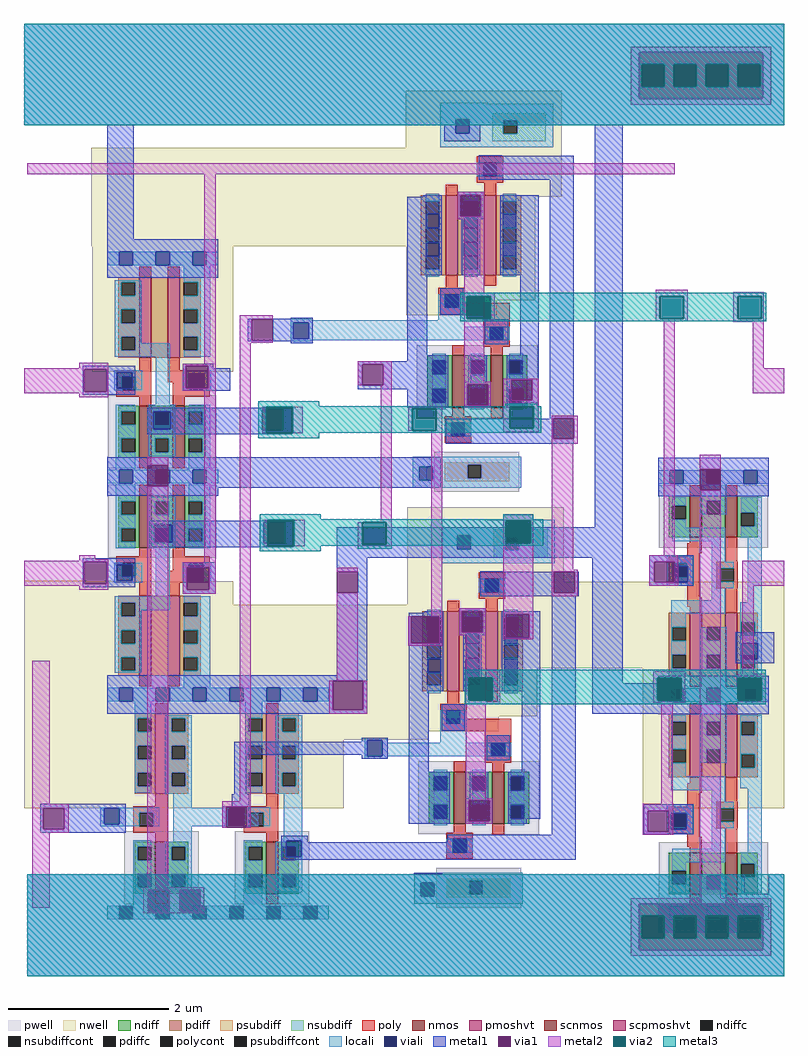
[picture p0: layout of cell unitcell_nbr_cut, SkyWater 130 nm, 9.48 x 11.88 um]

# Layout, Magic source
magic
tech sky130A
magscale 1 2
<< nwell >>
rect -406 636 388 882
rect -574 -766 -356 -198
rect -62 -278 382 -258
rect -62 -444 416 -278
rect 690 -416 1048 -200
rect -62 -452 434 -444
rect 202 -594 434 -452
<< locali >>
rect 92 452 142 456
rect 460 452 526 484
rect 92 446 526 452
rect 92 406 98 446
rect 136 436 526 446
rect 136 406 580 436
rect 92 402 580 406
rect 92 400 142 402
rect 276 -596 334 -590
rect 276 -636 282 -596
rect 320 -602 334 -596
rect 464 -602 530 -522
rect 320 -636 588 -602
rect 276 -642 334 -636
rect -384 -766 -288 -764
rect -384 -806 -374 -766
rect -336 -806 -288 -766
rect -384 -810 -288 -806
rect -176 -768 10 -764
rect -176 -808 -64 -768
rect -26 -808 10 -768
rect -176 -810 10 -808
<< viali >>
rect 98 406 136 446
rect -342 282 -304 322
rect -164 282 -124 318
rect -252 180 -208 224
rect -248 -102 -204 -58
rect -342 -198 -304 -158
rect -164 -198 -126 -158
rect 1044 -202 1082 -162
rect 1218 -394 1256 -354
rect 282 -636 320 -596
rect -374 -806 -336 -766
rect -64 -808 -26 -768
rect 1040 -818 1078 -778
rect 80 -886 118 -846
<< metal1 >>
rect -574 1120 1322 1192
rect -574 1004 961 1120
rect 1269 1004 1322 1120
rect -574 938 1322 1004
rect -366 634 -300 938
rect 92 456 146 458
rect -16 454 146 456
rect -16 402 -6 454
rect 46 446 146 454
rect 46 406 98 446
rect 136 406 146 446
rect 46 402 146 406
rect -16 400 146 402
rect 92 394 146 400
rect -178 338 -102 344
rect -428 330 -296 338
rect -428 274 -424 330
rect -368 322 -296 330
rect -368 282 -342 322
rect -304 282 -296 322
rect -368 274 -296 282
rect -178 282 -170 338
rect -114 332 -102 338
rect 258 342 406 350
rect -114 282 -60 332
rect -178 276 -60 282
rect 258 290 270 342
rect 322 290 406 342
rect 258 280 406 290
rect -428 266 -296 274
rect -266 230 94 234
rect -266 224 20 230
rect -266 180 -252 224
rect -208 180 20 224
rect -266 178 20 180
rect 72 178 94 230
rect -266 168 94 178
rect -118 34 432 110
rect -262 -52 98 -48
rect -262 -58 24 -52
rect -262 -102 -248 -58
rect -204 -102 24 -58
rect -262 -104 24 -102
rect 76 -104 98 -52
rect 850 -64 920 938
rect -262 -114 98 -104
rect 206 -140 920 -64
rect -428 -150 -296 -142
rect -428 -206 -424 -150
rect -368 -158 -296 -150
rect -368 -198 -342 -158
rect -304 -198 -296 -158
rect -368 -206 -296 -198
rect -428 -214 -296 -206
rect -178 -158 -96 -152
rect -178 -164 -164 -158
rect -126 -164 -96 -158
rect -178 -220 -168 -164
rect -112 -220 -96 -164
rect -178 -230 -96 -220
rect 206 -176 282 -140
rect 258 -228 282 -176
rect 800 -228 810 -176
rect 206 -434 282 -228
rect 792 -236 810 -228
rect 186 -448 282 -434
rect 186 -520 196 -448
rect 272 -520 282 -448
rect 186 -530 282 -520
rect 844 -454 920 -140
rect 986 -150 1096 -134
rect 986 -202 998 -150
rect 1050 -162 1096 -150
rect 1082 -202 1096 -162
rect 986 -210 1096 -202
rect 1202 -354 1298 -326
rect 1202 -394 1218 -354
rect 1256 -394 1298 -354
rect 1202 -404 1298 -394
rect 844 -530 1052 -454
rect 268 -596 334 -590
rect 268 -600 282 -596
rect -50 -632 282 -600
rect -50 -730 -18 -632
rect 268 -636 282 -632
rect 320 -636 334 -596
rect 268 -642 334 -636
rect -534 -766 -320 -754
rect -56 -760 -12 -730
rect -534 -818 -526 -766
rect -474 -806 -374 -766
rect -336 -806 -320 -766
rect -474 -818 -320 -806
rect -80 -762 -12 -760
rect -80 -814 -70 -762
rect -18 -814 -12 -762
rect 972 -772 1096 -756
rect -534 -826 -320 -818
rect 972 -824 982 -772
rect 1034 -778 1096 -772
rect 1034 -818 1040 -778
rect 1078 -818 1096 -778
rect 1034 -824 1096 -818
rect 972 -830 1096 -824
rect 68 -846 134 -834
rect 68 -886 80 -846
rect 118 -850 134 -846
rect 118 -886 500 -850
rect 68 -894 500 -886
rect -566 -970 1224 -930
rect -566 -1022 -264 -970
rect -212 -1022 -186 -970
rect -134 -1004 1224 -970
rect 1284 -1004 1322 -930
rect -134 -1022 961 -1004
rect -566 -1120 961 -1022
rect 1269 -1120 1322 -1004
rect -566 -1184 1322 -1120
<< via1 >>
rect 961 1004 1269 1120
rect -6 402 46 454
rect -424 274 -368 330
rect -170 318 -114 338
rect -170 282 -164 318
rect -164 282 -124 318
rect -124 282 -114 318
rect 270 290 322 342
rect 642 252 694 304
rect 20 178 72 230
rect 746 156 798 208
rect -266 38 -214 90
rect 24 -104 76 -52
rect 1112 28 1164 80
rect -424 -206 -368 -150
rect -168 -198 -164 -164
rect -164 -198 -126 -164
rect -126 -198 -112 -164
rect -168 -220 -112 -198
rect 206 -228 258 -176
rect 748 -228 800 -176
rect 392 -354 462 -286
rect 628 -340 686 -282
rect 196 -520 272 -448
rect 998 -162 1050 -150
rect 998 -202 1044 -162
rect 1044 -202 1050 -162
rect -526 -818 -474 -766
rect -70 -768 -18 -762
rect -70 -808 -64 -768
rect -64 -808 -26 -768
rect -26 -808 -18 -768
rect -70 -814 -18 -808
rect 982 -824 1034 -772
rect -264 -1022 -212 -970
rect -186 -1022 -134 -970
rect 961 -1120 1269 -1004
<< metal2 >>
rect 940 1120 1290 1134
rect 940 1004 961 1120
rect 1269 1004 1290 1120
rect 940 990 1290 1004
rect -566 816 1050 844
rect -436 332 -364 346
rect -124 344 -96 816
rect 528 512 600 520
rect -574 330 -364 332
rect -574 274 -424 330
rect -368 274 -364 330
rect -178 338 -96 344
rect -178 282 -170 338
rect -114 282 -96 338
rect -178 276 -96 282
rect -574 270 -364 274
rect -436 260 -364 270
rect -266 90 -214 110
rect -436 -144 -396 -134
rect -436 -148 -364 -144
rect -574 -150 -364 -148
rect -574 -206 -424 -150
rect -368 -206 -364 -150
rect -574 -210 -364 -206
rect -436 -220 -364 -210
rect -554 -754 -510 -398
rect -554 -766 -462 -754
rect -554 -818 -526 -766
rect -474 -818 -462 -766
rect -554 -826 -462 -818
rect -554 -1014 -510 -826
rect -266 -962 -214 38
rect -124 -152 -96 276
rect -178 -164 -96 -152
rect -178 -220 -168 -164
rect -112 -220 -96 -164
rect -178 -230 -96 -220
rect -36 454 46 464
rect -36 402 -6 454
rect 528 456 530 512
rect 590 456 600 512
rect 528 450 600 456
rect 1002 512 1082 528
rect 1002 456 1012 512
rect 1072 456 1082 512
rect 1002 450 1082 456
rect 1196 512 1272 522
rect 1196 456 1206 512
rect 1266 456 1272 512
rect -36 396 46 402
rect -36 -748 -8 396
rect 258 342 344 350
rect 258 290 270 342
rect 322 290 344 342
rect 20 230 30 236
rect 20 170 30 178
rect 96 170 122 236
rect 24 -52 34 -46
rect 24 -112 34 -104
rect 100 -112 126 -46
rect 316 -52 344 290
rect 622 304 710 306
rect 622 252 642 304
rect 694 252 710 304
rect 622 238 710 252
rect 384 232 470 236
rect 384 176 394 232
rect 454 176 470 232
rect 258 -108 270 -52
rect 330 -108 344 -52
rect 258 -112 344 -108
rect 206 -176 258 -166
rect 206 -448 258 -228
rect 442 -286 470 176
rect 622 182 638 238
rect 698 182 710 238
rect 622 172 710 182
rect 742 208 808 214
rect 742 156 746 208
rect 798 156 808 208
rect 742 144 808 156
rect 384 -354 392 -286
rect 462 -354 470 -286
rect 622 -48 696 -33
rect 622 -104 628 -48
rect 690 -104 696 -48
rect 622 -282 696 -104
rect 742 -170 796 144
rect 1022 -134 1050 450
rect 1196 448 1272 456
rect 1244 332 1272 448
rect 1244 270 1322 332
rect 1112 80 1164 116
rect 986 -150 1058 -134
rect 742 -176 808 -170
rect 742 -228 748 -176
rect 800 -228 808 -176
rect 986 -202 998 -150
rect 1050 -202 1058 -150
rect 986 -210 1058 -202
rect 742 -236 808 -228
rect 622 -340 628 -282
rect 686 -340 696 -282
rect 622 -344 696 -340
rect 384 -360 470 -354
rect 578 -440 614 -420
rect 188 -520 196 -448
rect 272 -520 282 -448
rect 596 -496 614 -440
rect 578 -506 614 -496
rect 996 -440 1076 -424
rect 996 -496 1006 -440
rect 1066 -496 1076 -440
rect 996 -502 1076 -496
rect 188 -530 282 -520
rect -80 -762 -8 -748
rect 1016 -754 1044 -502
rect -80 -814 -70 -762
rect -18 -814 -8 -762
rect 970 -772 1046 -754
rect 970 -824 982 -772
rect 1034 -824 1046 -772
rect 970 -832 1046 -824
rect -276 -970 -124 -962
rect -276 -1022 -264 -970
rect -212 -1022 -186 -970
rect -134 -1022 -124 -970
rect 1112 -990 1164 28
rect 1218 -210 1322 -148
rect 1218 -430 1246 -210
rect 1206 -440 1276 -430
rect 1266 -496 1276 -440
rect 1206 -506 1276 -496
rect -276 -1028 -124 -1022
rect 940 -1004 1290 -990
rect 940 -1120 961 -1004
rect 1269 -1120 1290 -1004
rect 940 -1134 1290 -1120
<< via2 >>
rect 967 1034 1023 1090
rect 1047 1034 1103 1090
rect 1127 1034 1183 1090
rect 1207 1034 1263 1090
rect 530 456 590 512
rect 1012 456 1072 512
rect 1206 456 1266 512
rect 30 230 96 236
rect 30 178 72 230
rect 72 178 96 230
rect 30 170 96 178
rect 34 -52 100 -46
rect 34 -104 76 -52
rect 76 -104 100 -52
rect 34 -112 100 -104
rect 394 176 454 232
rect 270 -108 330 -52
rect 638 182 698 238
rect 628 -104 690 -48
rect 536 -496 596 -440
rect 1006 -496 1066 -440
rect 1206 -496 1266 -440
rect 967 -1090 1023 -1034
rect 1047 -1090 1103 -1034
rect 1127 -1090 1183 -1034
rect 1207 -1090 1263 -1034
<< metal3 >>
rect -574 1090 1322 1192
rect -574 1034 967 1090
rect 1023 1034 1047 1090
rect 1103 1034 1127 1090
rect 1183 1034 1207 1090
rect 1263 1034 1322 1090
rect -574 938 1322 1034
rect 514 512 1278 520
rect 514 456 530 512
rect 590 456 1012 512
rect 1072 456 1206 512
rect 1266 456 1278 512
rect 514 450 1278 456
rect 10 237 162 250
rect 626 238 706 244
rect 626 237 638 238
rect 10 236 638 237
rect 10 170 30 236
rect 96 232 638 236
rect 96 176 394 232
rect 454 182 638 232
rect 698 237 706 238
rect 698 182 717 237
rect 454 176 717 182
rect 96 171 717 176
rect 96 170 162 171
rect 10 158 162 170
rect 14 -45 166 -32
rect 622 -45 696 -32
rect 14 -46 721 -45
rect 14 -112 34 -46
rect 100 -48 721 -46
rect 100 -52 628 -48
rect 100 -108 270 -52
rect 330 -104 628 -52
rect 690 -104 721 -48
rect 330 -108 721 -104
rect 100 -111 721 -108
rect 100 -112 166 -111
rect 14 -124 166 -112
rect 258 -118 344 -111
rect 526 -440 1276 -420
rect 526 -496 536 -440
rect 596 -496 1006 -440
rect 1066 -496 1206 -440
rect 1266 -496 1276 -440
rect 526 -506 1276 -496
rect -566 -1034 1322 -930
rect -566 -1090 967 -1034
rect 1023 -1090 1047 -1034
rect 1103 -1090 1127 -1034
rect 1183 -1090 1207 -1034
rect 1263 -1090 1322 -1034
rect -566 -1185 1322 -1090
use mux  mux_0
transform 1 0 432 0 1 146
box -54 -122 366 878
use mux  mux_1
transform 1 0 436 0 1 -892
box -54 -122 366 878
use sky130_fd_sc_hd__buf_1  sky130_fd_sc_hd__buf_1_0
transform 1 0 1008 0 1 -1027
box -38 -48 314 592
use sky130_fd_sc_hd__buf_1  sky130_fd_sc_hd__buf_1_1
transform 1 0 1008 0 -1 61
box -38 -48 314 592
use sky130_fd_sc_hd__inv_1#0  sky130_fd_sc_hd__inv_1_0
transform 1 0 -90 0 1 -1026
box -38 -48 314 592
use sky130_fd_sc_hd__inv_1#0  sky130_fd_sc_hd__inv_1_1
transform 1 0 -366 0 1 -1026
box -38 -48 314 592
use sky130_fd_sc_hd__nor2_1  sky130_fd_sc_hd__nor2_1_0
transform 1 0 -366 0 1 62
box -38 -48 314 592
use sky130_fd_sc_hd__nor2_1  sky130_fd_sc_hd__nor2_1_1
transform 1 0 -366 0 -1 62
box -38 -48 314 592
<< end >>

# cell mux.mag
magic
tech sky130A
magscale 1 2
<< nwell >>
rect -54 614 336 878
<< pwell >>
rect 18 -122 230 -22
<< psubdiff >>
rect 44 -54 204 -48
rect 44 -88 101 -54
rect 135 -88 204 -54
rect 44 -96 204 -88
<< nsubdiff >>
rect 162 805 296 822
rect 162 771 190 805
rect 224 771 296 805
rect 162 752 296 771
<< psubdiffcont >>
rect 101 -88 135 -54
<< nsubdiffcont >>
rect 190 771 224 805
<< poly >>
rect 28 318 206 350
rect 140 240 206 318
<< locali >>
rect 32 846 146 848
rect 32 807 314 846
rect 32 773 71 807
rect 105 805 314 807
rect 105 773 190 805
rect 32 771 190 773
rect 224 771 314 805
rect 32 738 314 771
rect -36 -54 234 -34
rect -36 -59 101 -54
rect -36 -93 -20 -59
rect 14 -88 101 -59
rect 135 -88 234 -54
rect 14 -93 234 -88
rect -36 -112 234 -93
<< viali >>
rect 71 773 105 807
rect -20 -93 14 -59
<< metal1 >>
rect 42 807 132 828
rect 42 773 71 807
rect 105 773 132 807
rect 42 752 132 773
rect 128 716 186 718
rect 128 656 366 716
rect 76 618 142 626
rect -50 218 0 614
rect 76 566 82 618
rect 134 566 142 618
rect 76 558 142 566
rect 188 418 278 618
rect 32 320 90 386
rect 144 246 202 308
rect -50 88 52 218
rect 92 146 158 152
rect 92 94 100 146
rect 152 94 158 146
rect 232 100 278 418
rect 92 88 158 94
rect 306 60 366 656
rect 46 -2 366 60
rect -38 -59 34 -36
rect -38 -93 -20 -59
rect 14 -93 34 -59
rect -38 -112 34 -93
<< via1 >>
rect 82 566 134 618
rect 100 94 152 146
<< metal2 >>
rect 76 618 142 626
rect 76 566 82 618
rect 134 566 142 618
rect 76 558 142 566
rect 92 152 142 558
rect 92 146 158 152
rect 92 94 100 146
rect 152 94 158 146
rect 92 88 158 94
use sky130_fd_pr__nfet_01v8_PX9ZJG  1
transform 1 0 125 0 1 153
box -151 -153 151 153
use sky130_fd_pr__pfet_01v8_hvt_SH6FHF  2
transform 1 0 109 0 1 518
box -161 -200 161 200
<< end >>

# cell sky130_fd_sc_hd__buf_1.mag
magic
tech sky130A
magscale 1 2
<< nwell >>
rect -38 261 314 582
<< pwell >>
rect 1 21 275 177
<< scnmos >>
rect 79 47 109 151
rect 167 47 197 151
<< scpmoshvt >>
rect 79 339 109 497
rect 167 339 197 497
<< ndiff >>
rect 27 106 79 151
rect 27 72 35 106
rect 69 72 79 106
rect 27 47 79 72
rect 109 93 167 151
rect 109 59 121 93
rect 155 59 167 93
rect 109 47 167 59
rect 197 123 249 151
rect 197 89 207 123
rect 241 89 249 123
rect 197 47 249 89
<< pdiff >>
rect 27 477 79 497
rect 27 443 35 477
rect 69 443 79 477
rect 27 409 79 443
rect 27 375 35 409
rect 69 375 79 409
rect 27 339 79 375
rect 109 477 167 497
rect 109 443 121 477
rect 155 443 167 477
rect 109 409 167 443
rect 109 375 121 409
rect 155 375 167 409
rect 109 339 167 375
rect 197 477 249 497
rect 197 443 207 477
rect 241 443 249 477
rect 197 396 249 443
rect 197 362 207 396
rect 241 362 249 396
rect 197 339 249 362
<< ndiffc >>
rect 35 72 69 106
rect 121 59 155 93
rect 207 89 241 123
<< pdiffc >>
rect 35 443 69 477
rect 35 375 69 409
rect 121 443 155 477
rect 121 375 155 409
rect 207 443 241 477
rect 207 362 241 396
<< poly >>
rect 79 497 109 523
rect 167 497 197 523
rect 79 324 109 339
rect 73 300 109 324
rect 73 265 103 300
rect 167 278 197 339
rect 27 249 103 265
rect 27 215 37 249
rect 71 215 103 249
rect 27 199 103 215
rect 145 262 199 278
rect 145 228 155 262
rect 189 228 199 262
rect 145 212 199 228
rect 73 190 103 199
rect 73 166 109 190
rect 79 151 109 166
rect 167 151 197 212
rect 79 21 109 47
rect 167 21 197 47
<< polycont >>
rect 37 215 71 249
rect 155 228 189 262
<< locali >>
rect 0 527 29 561
rect 63 527 121 561
rect 155 527 213 561
rect 247 527 276 561
rect 33 477 69 493
rect 33 443 35 477
rect 33 409 69 443
rect 33 375 35 409
rect 105 477 171 527
rect 105 443 121 477
rect 155 443 171 477
rect 105 409 171 443
rect 105 375 121 409
rect 155 375 171 409
rect 205 477 259 493
rect 205 443 207 477
rect 241 443 259 477
rect 205 396 259 443
rect 33 341 69 375
rect 205 362 207 396
rect 241 362 259 396
rect 33 307 168 341
rect 205 312 259 362
rect 134 278 168 307
rect 21 249 89 271
rect 21 215 37 249
rect 71 215 89 249
rect 21 197 89 215
rect 134 262 189 278
rect 134 228 155 262
rect 134 212 189 228
rect 134 161 168 212
rect 35 127 168 161
rect 223 152 259 312
rect 35 106 69 127
rect 207 123 259 152
rect 35 51 69 72
rect 105 59 121 93
rect 155 59 171 93
rect 105 17 171 59
rect 241 89 259 123
rect 207 51 259 89
rect 0 -17 29 17
rect 63 -17 121 17
rect 155 -17 213 17
rect 247 -17 276 17
<< viali >>
rect 29 527 63 561
rect 121 527 155 561
rect 213 527 247 561
rect 29 -17 63 17
rect 121 -17 155 17
rect 213 -17 247 17
<< metal1 >>
rect 0 561 276 592
rect 0 527 29 561
rect 63 527 121 561
rect 155 527 213 561
rect 247 527 276 561
rect 0 496 276 527
rect 0 17 276 48
rect 0 -17 29 17
rect 63 -17 121 17
rect 155 -17 213 17
rect 247 -17 276 17
rect 0 -48 276 -17
<< properties >>
string FIXED_BBOX 0 0 276 544
<< end >>

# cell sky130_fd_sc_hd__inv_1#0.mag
magic
tech sky130A
magscale 1 2
<< nwell >>
rect -38 261 314 582
<< pwell >>
rect 42 21 228 203
<< scnmos >>
rect 120 47 150 177
<< scpmoshvt >>
rect 120 297 150 497
<< ndiff >>
rect 68 165 120 177
rect 68 131 76 165
rect 110 131 120 165
rect 68 97 120 131
rect 68 63 76 97
rect 110 63 120 97
rect 68 47 120 63
rect 150 165 202 177
rect 150 131 160 165
rect 194 131 202 165
rect 150 97 202 131
rect 150 63 160 97
rect 194 63 202 97
rect 150 47 202 63
<< pdiff >>
rect 68 485 120 497
rect 68 451 76 485
rect 110 451 120 485
rect 68 417 120 451
rect 68 383 76 417
rect 110 383 120 417
rect 68 349 120 383
rect 68 315 76 349
rect 110 315 120 349
rect 68 297 120 315
rect 150 485 202 497
rect 150 451 160 485
rect 194 451 202 485
rect 150 417 202 451
rect 150 383 160 417
rect 194 383 202 417
rect 150 349 202 383
rect 150 315 160 349
rect 194 315 202 349
rect 150 297 202 315
<< ndiffc >>
rect 76 131 110 165
rect 76 63 110 97
rect 160 131 194 165
rect 160 63 194 97
<< pdiffc >>
rect 76 451 110 485
rect 76 383 110 417
rect 76 315 110 349
rect 160 451 194 485
rect 160 383 194 417
rect 160 315 194 349
<< poly >>
rect 120 497 150 523
rect 120 265 150 297
rect 64 249 150 265
rect 64 215 80 249
rect 114 215 150 249
rect 64 199 150 215
rect 120 177 150 199
rect 120 21 150 47
<< polycont >>
rect 80 215 114 249
<< locali >>
rect 0 527 29 561
rect 63 527 121 561
rect 155 527 213 561
rect 247 527 276 561
rect 68 485 110 527
rect 68 451 76 485
rect 68 417 110 451
rect 68 383 76 417
rect 68 349 110 383
rect 68 315 76 349
rect 68 299 110 315
rect 144 485 210 493
rect 144 451 160 485
rect 194 451 210 485
rect 144 417 210 451
rect 144 383 160 417
rect 194 383 210 417
rect 144 349 210 383
rect 144 315 160 349
rect 194 315 210 349
rect 144 297 210 315
rect 64 249 130 263
rect 64 215 80 249
rect 114 215 130 249
rect 64 165 110 181
rect 164 177 210 297
rect 64 131 76 165
rect 64 97 110 131
rect 64 63 76 97
rect 64 17 110 63
rect 144 165 210 177
rect 144 131 160 165
rect 194 131 210 165
rect 144 97 210 131
rect 144 63 160 97
rect 194 63 210 97
rect 144 51 210 63
rect 0 -17 29 17
rect 63 -17 121 17
rect 155 -17 213 17
rect 247 -17 276 17
<< viali >>
rect 29 527 63 561
rect 121 527 155 561
rect 213 527 247 561
rect 29 -17 63 17
rect 121 -17 155 17
rect 213 -17 247 17
<< metal1 >>
rect 0 561 276 592
rect 0 527 29 561
rect 63 527 121 561
rect 155 527 213 561
rect 247 527 276 561
rect 0 496 276 527
rect 0 17 276 48
rect 0 -17 29 17
rect 63 -17 121 17
rect 155 -17 213 17
rect 247 -17 276 17
rect 0 -48 276 -17
<< properties >>
string FIXED_BBOX 0 0 276 544
<< end >>

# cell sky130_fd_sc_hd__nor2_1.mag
magic
tech sky130A
magscale 1 2
<< nwell >>
rect -38 261 314 582
<< pwell >>
rect 1 21 271 203
<< scnmos >>
rect 79 47 109 177
rect 163 47 193 177
<< scpmoshvt >>
rect 79 297 109 497
rect 151 297 181 497
<< ndiff >>
rect 27 163 79 177
rect 27 129 35 163
rect 69 129 79 163
rect 27 95 79 129
rect 27 61 35 95
rect 69 61 79 95
rect 27 47 79 61
rect 109 163 163 177
rect 109 129 119 163
rect 153 129 163 163
rect 109 95 163 129
rect 109 61 119 95
rect 153 61 163 95
rect 109 47 163 61
rect 193 163 245 177
rect 193 129 203 163
rect 237 129 245 163
rect 193 95 245 129
rect 193 61 203 95
rect 237 61 245 95
rect 193 47 245 61
<< pdiff >>
rect 27 485 79 497
rect 27 451 35 485
rect 69 451 79 485
rect 27 417 79 451
rect 27 383 35 417
rect 69 383 79 417
rect 27 349 79 383
rect 27 315 35 349
rect 69 315 79 349
rect 27 297 79 315
rect 109 297 151 497
rect 181 485 233 497
rect 181 451 191 485
rect 225 451 233 485
rect 181 417 233 451
rect 181 383 191 417
rect 225 383 233 417
rect 181 349 233 383
rect 181 315 191 349
rect 225 315 233 349
rect 181 297 233 315
<< ndiffc >>
rect 35 129 69 163
rect 35 61 69 95
rect 119 129 153 163
rect 119 61 153 95
rect 203 129 237 163
rect 203 61 237 95
<< pdiffc >>
rect 35 451 69 485
rect 35 383 69 417
rect 35 315 69 349
rect 191 451 225 485
rect 191 383 225 417
rect 191 315 225 349
<< poly >>
rect 79 497 109 523
rect 151 497 181 523
rect 79 265 109 297
rect 22 249 109 265
rect 22 215 37 249
rect 71 215 109 249
rect 151 265 181 297
rect 151 249 255 265
rect 151 235 205 249
rect 22 199 109 215
rect 79 177 109 199
rect 163 215 205 235
rect 239 215 255 249
rect 163 199 255 215
rect 163 177 193 199
rect 79 21 109 47
rect 163 21 193 47
<< polycont >>
rect 37 215 71 249
rect 205 215 239 249
<< locali >>
rect 0 527 29 561
rect 63 527 121 561
rect 155 527 213 561
rect 247 527 276 561
rect 19 485 85 490
rect 19 451 35 485
rect 69 451 85 485
rect 19 417 85 451
rect 19 383 35 417
rect 69 383 85 417
rect 19 349 85 383
rect 19 315 35 349
rect 69 333 85 349
rect 191 485 257 527
rect 225 451 257 485
rect 191 417 257 451
rect 225 383 257 417
rect 191 349 257 383
rect 69 315 155 333
rect 19 299 155 315
rect 225 315 257 349
rect 191 299 257 315
rect 17 249 87 265
rect 17 215 37 249
rect 71 215 87 249
rect 121 179 155 299
rect 189 249 259 265
rect 189 215 205 249
rect 239 215 259 249
rect 21 163 69 179
rect 21 129 35 163
rect 21 95 69 129
rect 21 61 35 95
rect 21 17 69 61
rect 103 163 169 179
rect 103 129 119 163
rect 153 129 169 163
rect 103 95 169 129
rect 103 61 119 95
rect 153 61 169 95
rect 103 51 169 61
rect 203 163 257 179
rect 237 129 257 163
rect 203 95 257 129
rect 237 61 257 95
rect 203 17 257 61
rect 0 -17 29 17
rect 63 -17 121 17
rect 155 -17 213 17
rect 247 -17 276 17
<< viali >>
rect 29 527 63 561
rect 121 527 155 561
rect 213 527 247 561
rect 29 -17 63 17
rect 121 -17 155 17
rect 213 -17 247 17
<< metal1 >>
rect 0 561 276 592
rect 0 527 29 561
rect 63 527 121 561
rect 155 527 213 561
rect 247 527 276 561
rect 0 496 276 527
rect 0 17 276 48
rect 0 -17 29 17
rect 63 -17 121 17
rect 155 -17 213 17
rect 247 -17 276 17
rect 0 -48 276 -17
<< properties >>
string FIXED_BBOX 0 0 276 544
<< end >>

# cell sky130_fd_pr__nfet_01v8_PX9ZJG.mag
magic
tech sky130A
magscale 1 2
<< pwell >>
rect -151 -91 151 91
<< nmos >>
rect -63 -65 -33 65
rect 33 -65 63 65
<< ndiff >>
rect -125 51 -63 65
rect -125 17 -113 51
rect -79 17 -63 51
rect -125 -17 -63 17
rect -125 -51 -113 -17
rect -79 -51 -63 -17
rect -125 -65 -63 -51
rect -33 51 33 65
rect -33 17 -17 51
rect 17 17 33 51
rect -33 -17 33 17
rect -33 -51 -17 -17
rect 17 -51 33 -17
rect -33 -65 33 -51
rect 63 51 125 65
rect 63 17 79 51
rect 113 17 125 51
rect 63 -17 125 17
rect 63 -51 79 -17
rect 113 -51 125 -17
rect 63 -65 125 -51
<< ndiffc >>
rect -113 17 -79 51
rect -113 -51 -79 -17
rect -17 17 17 51
rect -17 -51 17 -17
rect 79 17 113 51
rect 79 -51 113 -17
<< poly >>
rect 15 137 81 153
rect 15 103 31 137
rect 65 103 81 137
rect -63 65 -33 91
rect 15 87 81 103
rect 33 65 63 87
rect -63 -87 -33 -65
rect -81 -103 -15 -87
rect 33 -91 63 -65
rect -81 -137 -65 -103
rect -31 -137 -15 -103
rect -81 -153 -15 -137
<< polycont >>
rect 31 103 65 137
rect -65 -137 -31 -103
<< locali >>
rect 15 103 31 137
rect 65 103 81 137
rect -113 53 -79 69
rect -113 -17 -79 17
rect -113 -69 -79 -53
rect -17 53 17 69
rect -17 -17 17 17
rect -17 -69 17 -53
rect 79 53 113 69
rect 79 -17 113 17
rect 79 -69 113 -53
rect -81 -137 -65 -103
rect -31 -137 -15 -103
<< viali >>
rect 31 103 65 137
rect -113 51 -79 53
rect -113 19 -79 51
rect -113 -51 -79 -19
rect -113 -53 -79 -51
rect -17 51 17 53
rect -17 19 17 51
rect -17 -51 17 -19
rect -17 -53 17 -51
rect 79 51 113 53
rect 79 19 113 51
rect 79 -51 113 -19
rect 79 -53 113 -51
rect -65 -137 -31 -103
<< metal1 >>
rect 19 137 77 143
rect 19 103 31 137
rect 65 103 77 137
rect 19 97 77 103
rect -119 53 -73 65
rect -119 19 -113 53
rect -79 19 -73 53
rect -119 -19 -73 19
rect -119 -53 -113 -19
rect -79 -53 -73 -19
rect -119 -65 -73 -53
rect -23 53 23 65
rect -23 19 -17 53
rect 17 19 23 53
rect -23 -19 23 19
rect -23 -53 -17 -19
rect 17 -53 23 -19
rect -23 -65 23 -53
rect 73 53 119 65
rect 73 19 79 53
rect 113 19 119 53
rect 73 -19 119 19
rect 73 -53 79 -19
rect 113 -53 119 -19
rect 73 -65 119 -53
rect -77 -103 -19 -97
rect -77 -137 -65 -103
rect -31 -137 -19 -103
rect -77 -143 -19 -137
<< end >>

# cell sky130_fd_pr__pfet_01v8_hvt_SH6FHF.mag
magic
tech sky130A
magscale 1 2
<< nwell >>
rect -65 162 161 200
rect -161 -162 161 162
rect -161 -200 65 -162
<< pmoshvt >>
rect -63 -100 -33 100
rect 33 -100 63 100
<< pdiff >>
rect -125 85 -63 100
rect -125 51 -113 85
rect -79 51 -63 85
rect -125 17 -63 51
rect -125 -17 -113 17
rect -79 -17 -63 17
rect -125 -51 -63 -17
rect -125 -85 -113 -51
rect -79 -85 -63 -51
rect -125 -100 -63 -85
rect -33 85 33 100
rect -33 51 -17 85
rect 17 51 33 85
rect -33 17 33 51
rect -33 -17 -17 17
rect 17 -17 33 17
rect -33 -51 33 -17
rect -33 -85 -17 -51
rect 17 -85 33 -51
rect -33 -100 33 -85
rect 63 85 125 100
rect 63 51 79 85
rect 113 51 125 85
rect 63 17 125 51
rect 63 -17 79 17
rect 113 -17 125 17
rect 63 -51 125 -17
rect 63 -85 79 -51
rect 113 -85 125 -51
rect 63 -100 125 -85
<< pdiffc >>
rect -113 51 -79 85
rect -113 -17 -79 17
rect -113 -85 -79 -51
rect -17 51 17 85
rect -17 -17 17 17
rect -17 -85 17 -51
rect 79 51 113 85
rect 79 -17 113 17
rect 79 -85 113 -51
<< poly >>
rect 15 181 81 197
rect 15 147 31 181
rect 65 147 81 181
rect 15 131 81 147
rect -63 100 -33 126
rect 33 100 63 131
rect -63 -131 -33 -100
rect 33 -126 63 -100
rect -81 -147 -15 -131
rect -81 -181 -65 -147
rect -31 -181 -15 -147
rect -81 -197 -15 -181
<< polycont >>
rect 31 147 65 181
rect -65 -181 -31 -147
<< locali >>
rect 15 147 31 181
rect 65 147 81 181
rect -113 85 -79 104
rect -113 17 -79 19
rect -113 -19 -79 -17
rect -113 -104 -79 -85
rect -17 85 17 104
rect -17 17 17 19
rect -17 -19 17 -17
rect -17 -104 17 -85
rect 79 85 113 104
rect 79 17 113 19
rect 79 -19 113 -17
rect 79 -104 113 -85
rect -81 -181 -65 -147
rect -31 -181 -15 -147
<< viali >>
rect 31 147 65 181
rect -113 51 -79 53
rect -113 19 -79 51
rect -113 -51 -79 -19
rect -113 -53 -79 -51
rect -17 51 17 53
rect -17 19 17 51
rect -17 -51 17 -19
rect -17 -53 17 -51
rect 79 51 113 53
rect 79 19 113 51
rect 79 -51 113 -19
rect 79 -53 113 -51
rect -65 -181 -31 -147
<< metal1 >>
rect 19 181 77 187
rect 19 147 31 181
rect 65 147 77 181
rect 19 141 77 147
rect -119 53 -73 100
rect -119 19 -113 53
rect -79 19 -73 53
rect -119 -19 -73 19
rect -119 -53 -113 -19
rect -79 -53 -73 -19
rect -119 -100 -73 -53
rect -23 53 23 100
rect -23 19 -17 53
rect 17 19 23 53
rect -23 -19 23 19
rect -23 -53 -17 -19
rect 17 -53 23 -19
rect -23 -100 23 -53
rect 73 53 119 100
rect 73 19 79 53
rect 113 19 119 53
rect 73 -19 119 19
rect 73 -53 79 -19
rect 113 -53 119 -19
rect 73 -100 119 -53
rect -77 -147 -19 -141
rect -77 -181 -65 -147
rect -31 -181 -19 -147
rect -77 -187 -19 -181
<< end >>
